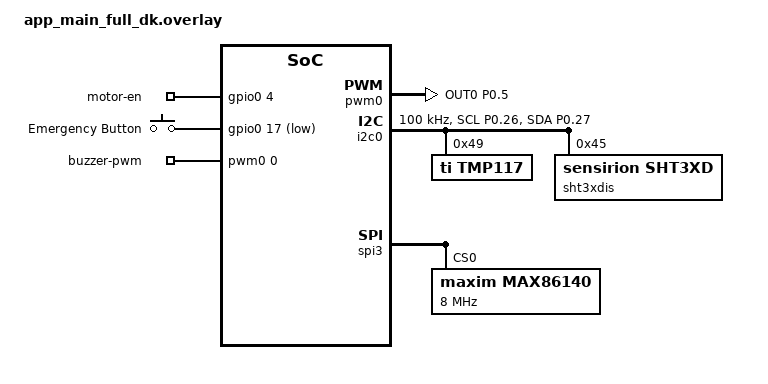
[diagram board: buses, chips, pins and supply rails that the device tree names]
/*
 * nRF52840 DK **only** — **main.c** full app (prj_full_vitaband.conf). Same logical sensors as
 * app_vitaband_base, but pinmux matches the DK + Arduino headers.
 *
 * **Do not use this file for the VitaBand PCB** — flash **app_vitaband_base.overlay** instead.
 *
 *   MAX86140 on **SPI3** (Arduino D11–D13, CS D10) — same as app_ble_hr_body_dk.overlay
 *   TMP117 + SHT3x on **I2C0** (P0.26 / P0.27 — Arduino A4/A5)
 *
 * Use this instead of app_vitaband_base.overlay when you see vitals stuck at body_raw=-99 / amb=-99
 * and boot logs showed MAX86140=FAIL (VitaBand overlay maps SPI to the wrong pins for the DK).
 *
 * If TMP117 NACKs, try pin swap:
 *   -DDTC_OVERLAY_FILE="app_main_full_dk.overlay;app_tmp117_i2c_dkswap.overlay"
 *
 * SHT3x I2C address 0x45 (ADDR→VDD). Change to 0x44 in-tree if your part uses ADDR→GND.
 *
 * west build -b nrf52840dk/nrf52840 -- \
 *   -DCONF_FILE=prj_full_vitaband.conf \
 *   -DDTC_OVERLAY_FILE=app_main_full_dk.overlay
 */

#include <zephyr/dt-bindings/gpio/gpio.h>
#include <zephyr/dt-bindings/pinctrl/nrf-pinctrl.h>
#include <zephyr/dt-bindings/spi/spi.h>

/ {
	chosen {
		zephyr,console = &rtt0;
		zephyr,bt-mon-uart = &rtt0;
		zephyr,bt-c2h-uart = &rtt0;
		/delete-property/ zephyr,shell-uart;
		/delete-property/ zephyr,uart-mcumgr;
	};

	rtt0: rtt_chan0 {
		compatible = "segger,rtt-uart";
		status = "okay";
	};

	leds {
		status = "disabled";
		led0: led_0 { status = "disabled"; gpios = <&gpio0 2 GPIO_ACTIVE_LOW>; };
		led1: led_1 { status = "disabled"; gpios = <&gpio0 3 GPIO_ACTIVE_LOW>; };
		led3: led_3 { status = "disabled"; gpios = <&gpio0 7 GPIO_ACTIVE_LOW>; };
	};

	pwmleds {
		status = "disabled";
		pwm_led0: pwm_led_0 { status = "disabled"; };
	};

	aliases {
		emergency-button = &emergency_button;
		buzzer = &pwm_buzzer_led;
		motor-en = &motor_en_line;
	};

	motor_gpios {
		compatible = "gpio-leds";
		motor_en_line: motor_en_line {
			gpios = <&gpio0 4 GPIO_ACTIVE_HIGH>;
			label = "motor-en";
		};
	};

	buttons {
		compatible = "gpio-keys";
		emergency_button: emergency_button {
			gpios = <&gpio0 17 (GPIO_PULL_UP | GPIO_ACTIVE_LOW)>;
			label = "Emergency Button";
		};
	};

	pwm_buzzer_group {
		compatible = "pwm-leds";
		pwm_buzzer_led: pwm_buzzer_led {
			pwms = <&pwm0 0 250000 PWM_POLARITY_NORMAL>;
			label = "buzzer-pwm";
		};
	};
};

&uart0 {
	status = "disabled";
};

&adc {
	status = "disabled";
};

/* VitaBand PCB uses TWIM1 here; on DK we use TWIM0 for the same P0.26/P0.27 header pins. */
&i2c1 {
	status = "disabled";
};

&spi0 {
	status = "disabled";
};

&spi1 {
	status = "disabled";
};

&spi2 {
	status = "disabled";
};

&pinctrl {
	i2c0_full_dk: i2c0_full_dk {
		group1 {
			psels = <NRF_PSEL(TWIM_SCL, 0, 26)>,
				<NRF_PSEL(TWIM_SDA, 0, 27)>;
			bias-pull-up;
		};
	};

	i2c0_full_dk_sleep: i2c0_full_dk_sleep {
		group1 {
			psels = <NRF_PSEL(TWIM_SCL, 0, 26)>,
				<NRF_PSEL(TWIM_SDA, 0, 27)>;
			low-power-enable;
		};
	};

	pwm0_buzzer_dk: pwm0_buzzer_dk {
		group1 {
			psels = <NRF_PSEL(PWM_OUT0, 0, 5)>;
			nordic,drive-mode = <NRF_DRIVE_H0H1>;
		};
	};

	pwm0_buzzer_dk_sleep: pwm0_buzzer_dk_sleep {
		group1 {
			psels = <NRF_PSEL(PWM_OUT0, 0, 5)>;
			low-power-enable;
		};
	};
};

&pwm0 {
	status = "okay";
	pinctrl-0 = <&pwm0_buzzer_dk>;
	pinctrl-1 = <&pwm0_buzzer_dk_sleep>;
	pinctrl-names = "default", "sleep";
};

&i2c0 {
	status = "okay";
	compatible = "nordic,nrf-twim";
	pinctrl-0 = <&i2c0_full_dk>;
	pinctrl-1 = <&i2c0_full_dk_sleep>;
	pinctrl-names = "default", "sleep";
	clock-frequency = <100000>;

	tmp117: tmp117@49 {
		compatible = "ti,tmp117";
		reg = <0x49>;
		status = "okay";
	};

	sht3xdis: sht3xdis@45 {
		compatible = "sensirion,sht3xd";
		reg = <0x45>;
		status = "okay";
	};
};

/* Board BSP enables SPI3 on Arduino; add MAX86140 node (same as app_ble_hr_body_dk.overlay). */
&spi3 {
	max86140: maxim_max86140@0 {
		compatible = "maxim,max86140";
		reg = <0>;
		spi-max-frequency = <8000000>;
		frame-format = <SPI_FRAME_FORMAT_MOTOROLA>;
	};
};
